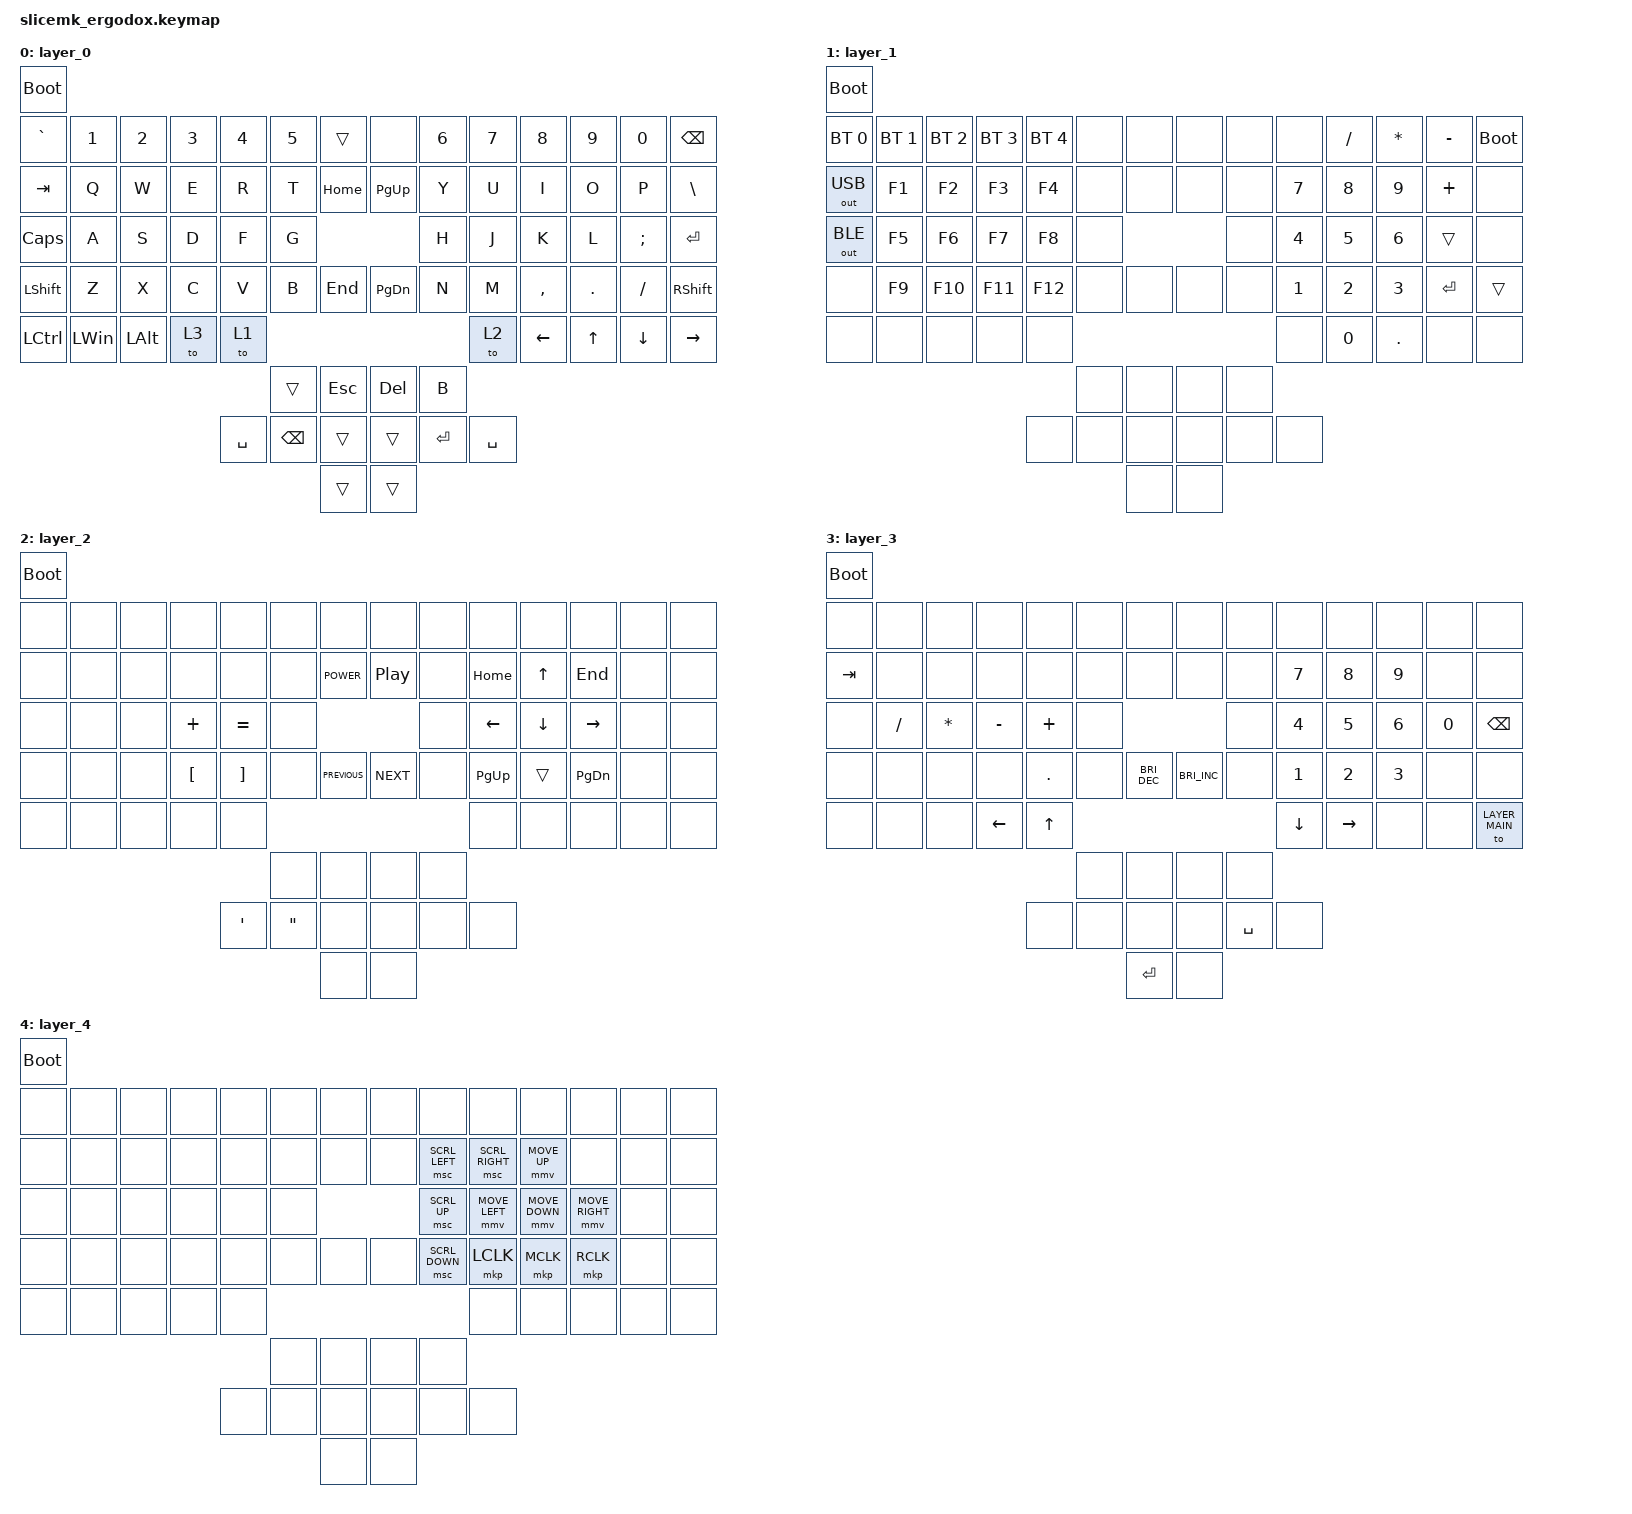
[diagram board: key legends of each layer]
#include <dt-bindings/zmk/mouse.h>
#include <behaviors.dtsi>
#include <dt-bindings/zmk/bt.h>
#include <dt-bindings/zmk/keys.h>
#include <dt-bindings/zmk/outputs.h>
#include <dt-bindings/zmk/pointing.h>
#include <dt-bindings/zmk/matrix_transform.h>

#define LAYER_MAIN 0
#define LAYER_FN 1
#define LAYER_SYMB 2
#define LAYER_NMPAD 3
#define LAYER_MOUSE 4

/ {
    keymap {
        compatible = "zmk,keymap";

        layer_0 {
            bindings = <
&bootloader
&kp GRAVE       &kp NUMBER_1  &kp NUMBER_2  &kp NUMBER_3  &kp NUMBER_4  &kp NUMBER_5   &trans      &none          &kp NUMBER_6  &kp NUMBER_7  &kp NUMBER_8  &kp NUMBER_9  &kp NUMBER_0   &kp BACKSPACE
&kp TAB         &kp Q         &kp W         &kp E         &kp R         &kp T          &kp HOME    &kp PAGE_UP    &kp Y         &kp U         &kp I         &kp O         &kp P          &kp BACKSLASH
&kp CAPSLOCK    &kp A         &kp S         &kp D         &kp F         &kp G                                     &kp H         &kp J         &kp K         &kp L         &kp SEMICOLON  &kp ENTER
&kp LEFT_SHIFT  &kp Z         &kp X         &kp C         &kp V         &kp B          &kp END     &kp PAGE_DOWN  &kp N         &kp M         &kp COMMA     &kp PERIOD    &kp SLASH      &kp RIGHT_SHIFT
&kp LCTRL       &kp LEFT_WIN  &kp LEFT_ALT  &to 3         &to 1                                                                 &to 2         &kp LEFT      &kp UP        &kp DOWN       &kp RIGHT
                                                                        &trans         &kp ESC     &kp DEL        &kp B
                                                          &kp SPACE     &kp BACKSPACE  &trans      &trans         &kp ENTER     &kp SPACE
                                                                                       &trans      &trans
            >;
        };

        layer_1 {
            bindings = <
&bootloader
&bt BT_SEL 0  &bt BT_SEL 1  &bt BT_SEL 2  &bt BT_SEL 3  &bt BT_SEL 4  &none  &none    &none  &none  &none         &kp SLASH     &kp STAR      &kp MINUS  &bootloader
&out OUT_USB  &kp F1        &kp F2        &kp F3        &kp F4        &none  &none    &none  &none  &kp NUMBER_7  &kp NUMBER_8  &kp NUMBER_9  &kp PLUS   &none
&out OUT_BLE  &kp F5        &kp F6        &kp F7        &kp F8        &none                  &none  &kp NUMBER_4  &kp NUMBER_5  &kp NUMBER_6  &trans     &none
&none         &kp F9        &kp F10       &kp F11       &kp F12       &none  &none    &none  &none  &kp NUMBER_1  &kp NUMBER_2  &kp NUMBER_3  &kp ENTER  &trans
&none         &none         &none         &none         &none                                       &none         &kp NUMBER_0  &kp DOT       &none      &none
                                                                      &none  &none    &none  &none
                                                        &none         &none  &none    &none  &none  &none
                                                                             &none    &none
            >;
        };

        layer_2 {
            bindings = <
&bootloader
&none        &none  &none  &none             &none              &none              &none             &none             &none  &none           &none           &none            &none  &none
&none        &none  &none  &none             &none              &none              &kp C_POWER       &kp C_PLAY_PAUSE  &none  &kp HOME        &kp UP_ARROW    &kp END          &none  &none
&none        &none  &none  &kp PLUS          &kp EQUAL          &none                                                  &none  &kp LEFT_ARROW  &kp DOWN_ARROW  &kp RIGHT_ARROW  &none  &none
&none        &none  &none  &kp LEFT_BRACKET  &kp RIGHT_BRACKET  &none              &kp C_PREVIOUS    &kp C_NEXT        &none  &kp PAGE_UP     &trans          &kp PAGE_DOWN    &none  &none
&none        &none  &none  &none             &none                                                                            &none           &none           &none            &none  &none
                                                                &none              &none             &none             &none
                                             &kp SINGLE_QUOTE   &kp DOUBLE_QUOTES  &none             &none             &none  &none
                                                                                   &none             &none
            >;
        };

        layer_3 {
            bindings = <
&bootloader
&none        &none      &none         &none           &none         &none  &none                   &none                 &none      &none           &none            &none         &none         &none
&kp TAB      &none      &none         &none           &none         &none  &none                   &none                 &none      &kp NUMBER_7    &kp NUMBER_8     &kp NUMBER_9  &none         &none
&none        &kp SLASH  &kp ASTERISK  &kp MINUS       &kp PLUS      &none                                                &none      &kp NUMBER_4    &kp NUMBER_5     &kp NUMBER_6  &kp NUMBER_0  &kp BACKSPACE
&none        &none      &none         &none           &kp PERIOD    &none  &kp C_BRIGHTNESS_DEC    &kp C_BRIGHTNESS_INC  &none      &kp NUMBER_1    &kp NUMBER_2     &kp NUMBER_3  &none         &none
&none        &none      &none         &kp LEFT_ARROW  &kp UP_ARROW                                                                  &kp DOWN_ARROW  &kp RIGHT_ARROW  &none         &none         &to LAYER_MAIN
                                                                    &none  &none                   &none                 &none
                                                      &none         &none  &none                   &none                 &kp SPACE  &none
                                                                           &kp RETURN              &none
            >;
        };

        layer_4 {
            bindings = <
&bootloader
&none        &none  &none  &none  &none  &none  &none    &none  &none           &none            &none           &none            &none  &none
&none        &none  &none  &none  &none  &none  &none    &none  &msc SCRL_LEFT  &msc SCRL_RIGHT  &mmv MOVE_UP    &none            &none  &none
&none        &none  &none  &none  &none  &none                  &msc SCRL_UP    &mmv MOVE_LEFT   &mmv MOVE_DOWN  &mmv MOVE_RIGHT  &none  &none
&none        &none  &none  &none  &none  &none  &none    &none  &msc SCRL_DOWN  &mkp LCLK        &mkp MCLK       &mkp RCLK        &none  &none
&none        &none  &none  &none  &none                                         &none            &none           &none            &none  &none
                                         &none  &none    &none  &none
                                  &none  &none  &none    &none  &none           &none
                                                &none    &none
            >;
        };
    };
};
